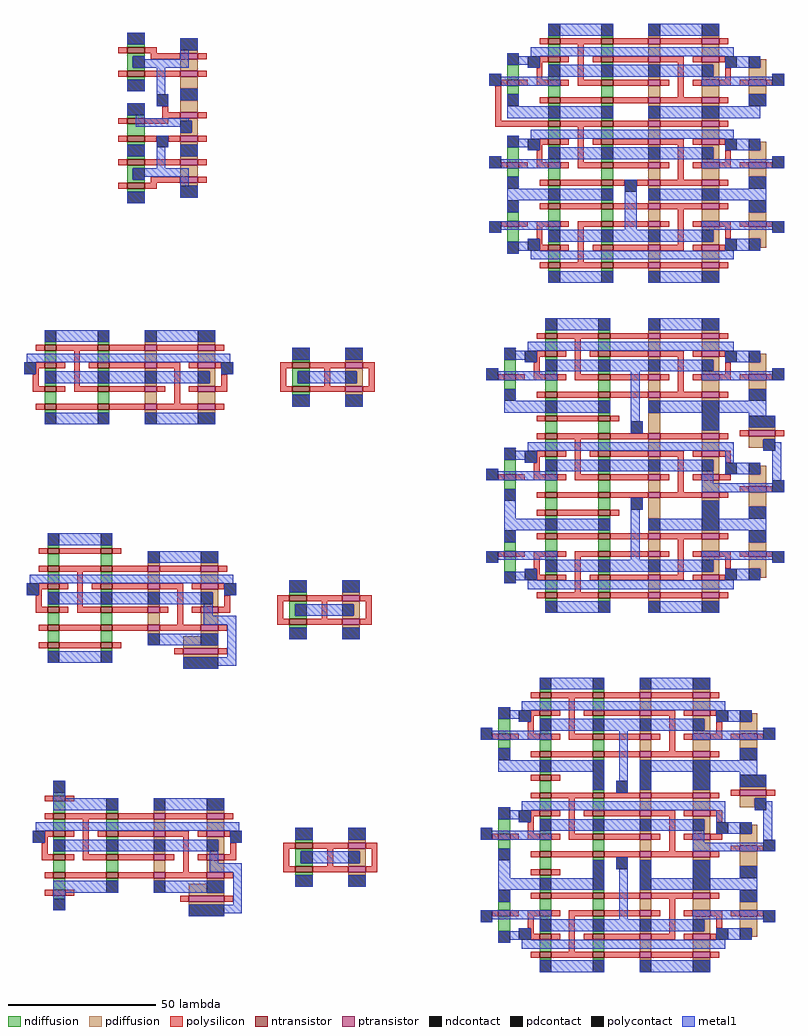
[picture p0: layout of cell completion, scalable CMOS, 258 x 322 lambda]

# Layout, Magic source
magic
tech scmos
use s_or4 s_or4_0
transform 1 0 184 0 1 64
box -3 -17 27 43
use m_c4 m_c4_0
transform 1 0 312 0 1 -39
box -6 59 96 149
use m_c2inv m_c2inv_0
transform 1 0 153 0 1 -26
box -5 -2 116 32
use m_c2inv_rlo m_c2inv_rlo_0
transform 1 0 149 0 1 -89
box 0 -22 119 26
use m_c4_rhi m_c4_rhi_0
transform 1 0 312 0 1 -151
box -7 59 96 161
use m_c2inv_plo m_c2inv_plo_0
transform 1 0 49 0 1 -186
box 102 -9 221 39
use m_c4_phi m_c4_phi_0
transform 1 0 313 0 1 -256
box -10 42 92 144
<< end >>

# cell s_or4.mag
magic
tech scmos
<< ndiffusion >>
rect 0 37 6 38
rect 0 34 6 35
rect 0 30 2 34
rect 0 29 6 30
rect 0 26 6 27
rect 0 13 6 14
rect 0 7 6 11
rect 0 4 6 5
rect 0 -1 6 0
rect 0 -4 6 -3
rect 0 -8 2 -4
rect 0 -9 6 -8
rect 0 -12 6 -11
<< pdiffusion >>
rect 18 35 24 36
rect 18 29 24 33
rect 18 23 24 27
rect 18 15 24 19
rect 18 12 24 13
rect 22 8 24 12
rect 18 7 24 8
rect 18 4 24 5
rect 18 -1 24 0
rect 18 -7 24 -3
rect 18 -10 24 -9
<< ntransistor >>
rect 0 35 6 37
rect 0 27 6 29
rect 0 11 6 13
rect 0 5 6 7
rect 0 -3 6 -1
rect 0 -11 6 -9
<< ptransistor >>
rect 18 33 24 35
rect 18 27 24 29
rect 18 13 24 15
rect 18 5 24 7
rect 18 -3 24 -1
rect 18 -9 24 -7
<< polysilicon >>
rect -3 35 0 37
rect 6 35 10 37
rect 8 33 18 35
rect 24 33 27 35
rect -3 27 0 29
rect 6 27 18 29
rect 24 27 27 29
rect 12 15 14 17
rect 12 13 18 15
rect 24 13 27 15
rect -3 11 0 13
rect 6 11 14 13
rect -3 5 0 7
rect 6 5 10 7
rect 14 5 18 7
rect 24 5 27 7
rect -3 -3 0 -1
rect 6 -3 18 -1
rect 24 -3 27 -1
rect 8 -9 18 -7
rect 24 -9 27 -7
rect -3 -11 0 -9
rect 6 -11 10 -9
<< ndcontact >>
rect 0 38 6 42
rect 2 30 6 34
rect 0 22 6 26
rect 0 14 6 18
rect 0 0 6 4
rect 2 -8 6 -4
rect 0 -16 6 -12
<< pdcontact >>
rect 18 36 24 40
rect 18 19 24 23
rect 18 8 22 12
rect 18 0 24 4
rect 18 -14 24 -10
<< polycontact >>
rect 10 17 14 21
rect 10 3 14 7
<< metal1 >>
rect 0 38 6 42
rect 18 36 24 40
rect 2 33 6 34
rect 18 33 21 36
rect 2 30 21 33
rect 0 22 6 26
rect 10 21 13 30
rect 0 14 6 18
rect 10 17 14 21
rect 18 19 24 23
rect 3 13 6 14
rect 3 12 21 13
rect 3 10 22 12
rect 18 8 22 10
rect 0 0 6 4
rect 10 3 14 7
rect 10 -4 13 3
rect 18 0 24 4
rect 2 -7 21 -4
rect 2 -8 6 -7
rect 18 -10 21 -7
rect 0 -16 6 -12
rect 18 -14 24 -10
<< labels >>
rlabel polysilicon 25 6 25 6 1 _a_01
rlabel polysilicon 25 14 25 14 1 _a_23
rlabel polysilicon -1 28 -1 28 1 a2
rlabel polysilicon -1 36 -1 36 1 a3
rlabel polysilicon -1 -2 -1 -2 1 a1
rlabel polysilicon -1 -10 -1 -10 1 a0
rlabel polysilicon 25 28 25 28 1 a2
rlabel polysilicon 25 34 25 34 1 a3
rlabel polysilicon 25 -2 25 -2 1 a1
rlabel polysilicon 25 -8 25 -8 1 a0
rlabel polysilicon -1 6 -1 6 1 _a_01
rlabel polysilicon -1 12 -1 12 1 _a_23
rlabel space -3 25 3 43 7 ^n1
rlabel space -3 3 1 19 7 ^n2
rlabel space 22 3 27 20 3 ^p2
rlabel space 23 22 27 41 3 ^p1
rlabel space 23 -15 27 1 3 ^p3
rlabel space -3 -17 3 1 7 ^n3
rlabel pdcontact 20 10 20 10 1 av
rlabel ndcontact 4 16 4 16 1 av
rlabel ndcontact 4 -6 4 -6 5 _a_01
rlabel pdcontact 20 -12 20 -12 5 _a_01
rlabel pdcontact 20 38 20 38 1 _a_23
rlabel ndcontact 4 32 4 32 1 _a_23
rlabel ndcontact 4 -14 4 -14 5 GND!
rlabel ndcontact 4 2 4 2 5 GND!
rlabel ndcontact 4 24 4 24 1 GND!
rlabel ndcontact 4 40 4 40 1 GND!
rlabel pdcontact 20 2 20 2 1 Vdd!
rlabel metal1 21 21 21 21 1 Vdd!
<< end >>

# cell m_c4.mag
magic
tech scmos
<< ndiffusion >>
rect 15 143 19 144
rect 33 143 37 144
rect 15 137 19 141
rect 1 129 5 134
rect 15 134 19 135
rect 15 129 19 130
rect 33 137 37 141
rect 33 134 37 135
rect 33 129 37 130
rect 1 124 5 127
rect 15 123 19 127
rect 33 123 37 127
rect 15 120 19 121
rect 15 115 19 116
rect 33 120 37 121
rect 33 115 37 116
rect 15 109 19 113
rect 1 101 5 106
rect 15 106 19 107
rect 15 101 19 102
rect 33 109 37 113
rect 33 106 37 107
rect 33 101 37 102
rect 1 96 5 99
rect 15 95 19 99
rect 33 95 37 99
rect 15 92 19 93
rect 15 87 19 88
rect 33 92 37 93
rect 33 87 37 88
rect 1 81 5 84
rect 15 81 19 85
rect 33 81 37 85
rect 1 74 5 79
rect 15 78 19 79
rect 15 73 19 74
rect 15 67 19 71
rect 33 78 37 79
rect 33 73 37 74
rect 33 67 37 71
rect 15 64 19 65
rect 33 64 37 65
<< pdiffusion >>
rect 49 143 53 144
rect 67 143 73 144
rect 49 137 53 141
rect 67 137 73 141
rect 49 134 53 135
rect 49 129 53 130
rect 49 123 53 127
rect 67 134 73 135
rect 71 130 73 134
rect 67 129 73 130
rect 87 133 89 136
rect 83 129 89 133
rect 67 123 73 127
rect 83 124 89 127
rect 49 120 53 121
rect 49 115 53 116
rect 67 120 73 121
rect 67 115 73 116
rect 49 109 53 113
rect 67 109 73 113
rect 49 106 53 107
rect 49 101 53 102
rect 49 95 53 99
rect 67 106 73 107
rect 71 102 73 106
rect 67 101 73 102
rect 87 105 89 108
rect 83 101 89 105
rect 67 95 73 99
rect 83 96 89 99
rect 49 92 53 93
rect 49 87 53 88
rect 67 92 73 93
rect 67 87 73 88
rect 49 81 53 85
rect 49 78 53 79
rect 49 73 53 74
rect 67 81 73 85
rect 83 81 89 84
rect 67 78 73 79
rect 71 74 73 78
rect 67 73 73 74
rect 83 75 89 79
rect 87 72 89 75
rect 49 67 53 71
rect 67 67 73 71
rect 49 64 53 65
rect 67 64 73 65
<< ntransistor >>
rect 15 141 19 143
rect 33 141 37 143
rect 15 135 19 137
rect 33 135 37 137
rect 1 127 5 129
rect 15 127 19 129
rect 33 127 37 129
rect 15 121 19 123
rect 33 121 37 123
rect 15 113 19 115
rect 33 113 37 115
rect 15 107 19 109
rect 33 107 37 109
rect 1 99 5 101
rect 15 99 19 101
rect 33 99 37 101
rect 15 93 19 95
rect 33 93 37 95
rect 15 85 19 87
rect 33 85 37 87
rect 1 79 5 81
rect 15 79 19 81
rect 33 79 37 81
rect 15 71 19 73
rect 33 71 37 73
rect 15 65 19 67
rect 33 65 37 67
<< ptransistor >>
rect 49 141 53 143
rect 67 141 73 143
rect 49 135 53 137
rect 67 135 73 137
rect 49 127 53 129
rect 67 127 73 129
rect 83 127 89 129
rect 49 121 53 123
rect 67 121 73 123
rect 49 113 53 115
rect 67 113 73 115
rect 49 107 53 109
rect 67 107 73 109
rect 49 99 53 101
rect 67 99 73 101
rect 83 99 89 101
rect 49 93 53 95
rect 67 93 73 95
rect 49 85 53 87
rect 67 85 73 87
rect 49 79 53 81
rect 67 79 73 81
rect 83 79 89 81
rect 49 71 53 73
rect 67 71 73 73
rect 49 65 53 67
rect 67 65 73 67
<< polysilicon >>
rect 12 141 15 143
rect 19 141 33 143
rect 37 141 49 143
rect 53 141 67 143
rect 73 141 76 143
rect 12 135 15 137
rect 19 135 22 137
rect 12 133 13 135
rect 11 129 13 133
rect 25 129 27 141
rect 30 135 33 137
rect 37 135 49 137
rect 53 135 61 137
rect 64 135 67 137
rect 73 135 75 137
rect -1 127 1 129
rect 5 127 8 129
rect 11 127 15 129
rect 19 127 22 129
rect 25 127 33 129
rect 37 127 49 129
rect 53 127 56 129
rect -3 115 -1 127
rect 59 123 61 135
rect 75 129 77 133
rect 64 127 67 129
rect 73 127 77 129
rect 80 127 83 129
rect 89 127 91 129
rect 12 121 15 123
rect 19 121 33 123
rect 37 121 49 123
rect 53 121 67 123
rect 73 121 76 123
rect -3 113 15 115
rect 19 113 33 115
rect 37 113 49 115
rect 53 113 67 115
rect 73 113 76 115
rect 12 107 15 109
rect 19 107 22 109
rect 12 105 13 107
rect 11 101 13 105
rect 25 101 27 113
rect 30 107 33 109
rect 37 107 49 109
rect 53 107 61 109
rect 64 107 67 109
rect 73 107 75 109
rect -1 99 1 101
rect 5 99 8 101
rect 11 99 15 101
rect 19 99 22 101
rect 25 99 33 101
rect 37 99 49 101
rect 53 99 56 101
rect 59 95 61 107
rect 75 101 77 105
rect 64 99 67 101
rect 73 99 77 101
rect 80 99 83 101
rect 89 99 91 101
rect 12 93 15 95
rect 19 93 33 95
rect 37 93 41 95
rect 45 93 49 95
rect 53 93 67 95
rect 73 93 76 95
rect 12 85 15 87
rect 19 85 33 87
rect 37 85 49 87
rect 53 85 67 87
rect 73 85 76 87
rect -1 79 1 81
rect 5 79 8 81
rect 11 79 15 81
rect 19 79 22 81
rect 25 79 33 81
rect 37 79 49 81
rect 53 79 56 81
rect 11 75 13 79
rect 12 73 13 75
rect 12 71 15 73
rect 19 71 22 73
rect 25 67 27 79
rect 59 73 61 85
rect 64 79 67 81
rect 73 79 77 81
rect 80 79 83 81
rect 89 79 91 81
rect 75 75 77 79
rect 30 71 33 73
rect 37 71 49 73
rect 53 71 61 73
rect 64 71 67 73
rect 73 71 75 73
rect 12 65 15 67
rect 19 65 33 67
rect 37 65 49 67
rect 53 65 67 67
rect 73 65 76 67
<< ndcontact >>
rect 15 144 19 148
rect 33 144 37 148
rect 1 134 5 138
rect 15 130 19 134
rect 33 130 37 134
rect 1 120 5 124
rect 15 116 19 120
rect 33 116 37 120
rect 1 106 5 110
rect 15 102 19 106
rect 33 102 37 106
rect 1 92 5 96
rect 15 88 19 92
rect 1 84 5 88
rect 33 88 37 92
rect 1 70 5 74
rect 15 74 19 78
rect 33 74 37 78
rect 15 60 19 64
rect 33 60 37 64
<< pdcontact >>
rect 49 144 53 148
rect 67 144 73 148
rect 49 130 53 134
rect 67 130 71 134
rect 83 133 87 137
rect 49 116 53 120
rect 83 120 89 124
rect 67 116 73 120
rect 49 102 53 106
rect 67 102 71 106
rect 83 105 87 109
rect 49 88 53 92
rect 83 92 89 96
rect 67 88 73 92
rect 49 74 53 78
rect 83 84 89 88
rect 67 74 71 78
rect 83 71 87 75
rect 49 60 53 64
rect 67 60 73 64
<< polycontact >>
rect -5 127 -1 131
rect 8 133 12 137
rect 75 133 79 137
rect 91 127 95 131
rect -5 99 -1 103
rect 8 105 12 109
rect 75 105 79 109
rect 91 99 95 103
rect 41 91 45 95
rect -5 77 -1 81
rect 8 71 12 75
rect 91 77 95 81
rect 75 71 79 75
<< metal1 >>
rect 15 144 37 148
rect 49 144 73 148
rect 1 137 5 138
rect 9 137 78 140
rect 1 134 12 137
rect 8 133 12 134
rect -5 130 -1 131
rect 15 130 71 134
rect 75 133 87 137
rect 91 130 95 131
rect -5 127 19 130
rect 67 127 95 130
rect 1 120 5 124
rect 83 120 89 124
rect 1 116 37 120
rect 49 116 87 120
rect 1 109 5 110
rect 9 109 78 112
rect 1 106 12 109
rect 8 105 12 106
rect -5 102 -1 103
rect 15 102 71 106
rect 75 105 87 109
rect 91 102 95 103
rect -5 99 19 102
rect 67 99 95 102
rect 1 92 5 96
rect 1 88 37 92
rect 1 84 5 88
rect -5 78 19 81
rect 41 78 45 95
rect 83 92 89 96
rect 49 88 89 92
rect 83 84 89 88
rect 67 78 95 81
rect -5 77 -1 78
rect 8 74 12 75
rect 15 74 71 78
rect 91 77 95 78
rect 1 71 12 74
rect 75 71 87 75
rect 1 70 5 71
rect 9 68 78 71
rect 15 60 37 64
rect 49 60 73 64
<< labels >>
rlabel polysilicon 14 94 14 94 1 _ab
rlabel polysilicon 14 114 14 114 1 _cd
rlabel polysilicon 14 66 14 66 5 b
rlabel polysilicon 14 86 14 86 5 a
rlabel polysilicon 14 142 14 142 1 d
rlabel polysilicon 14 122 14 122 1 c
rlabel polysilicon 74 94 74 94 1 _ab
rlabel polysilicon 74 114 74 114 1 _cd
rlabel polysilicon 74 66 74 66 5 b
rlabel polysilicon 74 86 74 86 5 a
rlabel polysilicon 74 142 74 142 1 d
rlabel polysilicon 74 122 74 122 1 c
rlabel space 30 120 33 144 3 ^ncd
rlabel space 24 121 28 143 3 ^ncd
rlabel space 24 93 28 115 3 ^nx
rlabel space 30 92 33 116 3 ^nx
rlabel space 30 60 33 88 3 ^nab
rlabel space 24 65 28 87 3 ^nab
rlabel space 53 64 56 88 7 ^pab
rlabel space 58 65 62 87 7 ^pab
rlabel space 53 92 56 116 7 ^px
rlabel space 58 93 62 115 7 ^px
rlabel space 53 120 56 144 7 ^pcd
rlabel space 58 121 62 143 7 ^pcd
rlabel space 52 59 96 149 3 ^p
rlabel space -6 59 34 149 7 ^n
rlabel ndcontact 35 104 35 104 1 x
rlabel pdcontact 51 104 51 104 1 x
rlabel ndcontact 35 62 35 62 1 GND!
rlabel pdcontact 51 62 51 62 1 Vdd!
rlabel ndcontact 35 90 35 90 1 GND!
rlabel pdcontact 51 90 51 90 1 Vdd!
rlabel pdcontact 51 76 51 76 5 _ab
rlabel ndcontact 35 76 35 76 5 _ab
rlabel pdcontact 51 132 51 132 1 _cd
rlabel ndcontact 35 132 35 132 1 _cd
rlabel pdcontact 51 146 51 146 1 Vdd!
rlabel ndcontact 35 146 35 146 1 GND!
rlabel ndcontact 35 118 35 118 1 GND!
rlabel pdcontact 51 118 51 118 1 Vdd!
rlabel ndcontact 17 62 17 62 1 GND!
rlabel ndcontact 17 146 17 146 1 GND!
rlabel ndcontact 17 118 17 118 1 GND!
rlabel ndcontact 17 90 17 90 1 GND!
rlabel pdcontact 69 104 69 104 1 x
rlabel pdcontact 70 62 70 62 1 Vdd!
rlabel pdcontact 69 76 69 76 5 _ab
rlabel pdcontact 69 132 69 132 1 _cd
rlabel pdcontact 70 146 70 146 1 Vdd!
rlabel pdcontact 70 118 70 118 1 Vdd!
rlabel pdcontact 70 90 70 90 1 Vdd!
rlabel ndcontact 17 132 17 132 1 _cd
rlabel ndcontact 17 104 17 104 1 x
rlabel ndcontact 17 76 17 76 5 _ab
rlabel pdcontact 86 94 86 94 1 Vdd!
rlabel pdcontact 86 86 86 86 5 Vdd!
rlabel pdcontact 86 122 86 122 1 Vdd!
rlabel polycontact 93 101 93 101 1 x
rlabel polycontact 93 79 93 79 5 _ab
rlabel polycontact 93 129 93 129 1 _cd
rlabel ndcontact 3 86 3 86 5 GND!
rlabel ndcontact 3 94 3 94 1 GND!
rlabel ndcontact 3 122 3 122 1 GND!
rlabel polycontact -3 79 -3 79 5 _ab
rlabel polycontact -3 129 -3 129 1 _cd
rlabel polycontact -3 101 -3 101 1 x
<< end >>

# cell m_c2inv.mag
magic
tech scmos
<< ndiffusion >>
rect 3 26 7 27
rect 21 26 25 27
rect 3 20 7 24
rect 3 17 7 18
rect 3 12 7 13
rect 21 20 25 24
rect 87 20 93 21
rect 21 17 25 18
rect 21 12 25 13
rect 3 6 7 10
rect 21 6 25 10
rect 87 17 93 18
rect 87 13 89 17
rect 87 12 93 13
rect 87 9 93 10
rect 3 3 7 4
rect 21 3 25 4
<< pdiffusion >>
rect 37 26 41 27
rect 55 26 61 27
rect 37 20 41 24
rect 55 20 61 24
rect 105 20 111 21
rect 37 17 41 18
rect 37 12 41 13
rect 37 6 41 10
rect 55 17 61 18
rect 59 13 61 17
rect 55 12 61 13
rect 105 17 111 18
rect 109 13 111 17
rect 105 12 111 13
rect 55 6 61 10
rect 105 9 111 10
rect 37 3 41 4
rect 55 3 61 4
<< ntransistor >>
rect 3 24 7 26
rect 21 24 25 26
rect 3 18 7 20
rect 21 18 25 20
rect 3 10 7 12
rect 21 10 25 12
rect 87 18 93 20
rect 87 10 93 12
rect 3 4 7 6
rect 21 4 25 6
<< ptransistor >>
rect 37 24 41 26
rect 55 24 61 26
rect 37 18 41 20
rect 55 18 61 20
rect 37 10 41 12
rect 105 18 111 20
rect 55 10 61 12
rect 105 10 111 12
rect 37 4 41 6
rect 55 4 61 6
<< polysilicon >>
rect 0 24 3 26
rect 7 24 21 26
rect 25 24 37 26
rect 41 24 55 26
rect 61 24 64 26
rect 0 18 3 20
rect 7 18 10 20
rect 0 16 1 18
rect -1 12 1 16
rect 13 12 15 24
rect 18 18 21 20
rect 25 18 37 20
rect 41 18 49 20
rect 52 18 55 20
rect 61 18 63 20
rect -1 10 3 12
rect 7 10 10 12
rect 13 10 21 12
rect 25 10 37 12
rect 41 10 44 12
rect 47 6 49 18
rect 83 18 87 20
rect 93 18 105 20
rect 111 18 115 20
rect 63 12 65 16
rect 52 10 55 12
rect 61 10 65 12
rect 83 12 85 18
rect 98 12 100 18
rect 113 12 115 18
rect 83 10 87 12
rect 93 10 105 12
rect 111 10 115 12
rect 0 4 3 6
rect 7 4 21 6
rect 25 4 37 6
rect 41 4 55 6
rect 61 4 64 6
<< ndcontact >>
rect 3 27 7 31
rect 21 27 25 31
rect 3 13 7 17
rect 87 21 93 25
rect 21 13 25 17
rect 89 13 93 17
rect 87 5 93 9
rect 3 -1 7 3
rect 21 -1 25 3
<< pdcontact >>
rect 37 27 41 31
rect 55 27 61 31
rect 105 21 111 25
rect 37 13 41 17
rect 55 13 59 17
rect 105 13 109 17
rect 105 5 111 9
rect 37 -1 41 3
rect 55 -1 61 3
<< polycontact >>
rect -4 16 0 20
rect 63 16 67 20
<< metal1 >>
rect 3 27 25 31
rect 37 27 61 31
rect -3 20 66 23
rect 87 21 93 25
rect 105 21 111 25
rect -4 16 0 20
rect 3 13 59 17
rect 63 16 67 20
rect 89 13 109 17
rect 87 5 93 9
rect 105 5 111 9
rect 3 -1 25 3
rect 37 -1 61 3
<< labels >>
rlabel polysilicon 2 25 2 25 3 b
rlabel polysilicon 2 5 2 5 1 a
rlabel polysilicon 62 5 62 5 1 a
rlabel polysilicon 62 25 62 25 1 b
rlabel space -5 -2 22 32 7 ^n1
rlabel space 40 -2 68 32 3 ^p1
rlabel polysilicon 84 15 84 15 1 _x
rlabel polysilicon 114 15 114 15 7 _x
rlabel space 82 4 90 26 7 ^n2
rlabel space 108 4 116 26 3 ^p2
rlabel ndcontact 23 1 23 1 1 GND!
rlabel pdcontact 39 1 39 1 1 Vdd!
rlabel ndcontact 23 29 23 29 5 GND!
rlabel pdcontact 39 29 39 29 5 Vdd!
rlabel ndcontact 5 1 5 1 1 GND!
rlabel ndcontact 5 29 5 29 5 GND!
rlabel pdcontact 58 1 58 1 1 Vdd!
rlabel pdcontact 58 29 58 29 5 Vdd!
rlabel pdcontact 39 15 39 15 1 _x
rlabel ndcontact 23 15 23 15 1 _x
rlabel polycontact -2 18 -2 18 1 x
rlabel polycontact 65 18 65 18 1 x
rlabel ndcontact 5 15 5 15 1 _x
rlabel pdcontact 57 15 57 15 1 _x
rlabel ndcontact 91 7 91 7 1 GND!
rlabel ndcontact 91 23 91 23 5 GND!
rlabel pdcontact 107 23 107 23 5 Vdd!
rlabel pdcontact 107 7 107 7 1 Vdd!
rlabel ndcontact 91 15 91 15 1 x
rlabel pdcontact 107 15 107 15 1 x
<< end >>

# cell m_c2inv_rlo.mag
magic
tech scmos
<< ndiffusion >>
rect 8 20 12 21
rect 26 20 30 21
rect 8 14 12 18
rect 26 14 30 18
rect 8 8 12 12
rect 8 5 12 6
rect 8 0 12 1
rect 26 8 30 12
rect 26 5 30 6
rect 26 0 30 1
rect 8 -6 12 -2
rect 26 -6 30 -2
rect 90 4 96 5
rect 90 1 96 2
rect 90 -3 92 1
rect 90 -4 96 -3
rect 90 -7 96 -6
rect 8 -12 12 -8
rect 26 -12 30 -8
rect 8 -15 12 -14
rect 26 -15 30 -14
<< pdiffusion >>
rect 42 14 46 15
rect 60 14 66 15
rect 42 8 46 12
rect 60 8 66 12
rect 42 5 46 6
rect 42 0 46 1
rect 42 -6 46 -2
rect 60 5 66 6
rect 64 1 66 5
rect 60 0 66 1
rect 108 4 114 5
rect 60 -6 66 -2
rect 108 1 114 2
rect 112 -3 114 1
rect 108 -4 114 -3
rect 42 -9 46 -8
rect 60 -9 66 -8
rect 54 -13 60 -10
rect 108 -7 114 -6
rect 54 -14 66 -13
rect 54 -17 66 -16
<< ntransistor >>
rect 8 18 12 20
rect 26 18 30 20
rect 8 12 12 14
rect 26 12 30 14
rect 8 6 12 8
rect 26 6 30 8
rect 8 -2 12 0
rect 26 -2 30 0
rect 90 2 96 4
rect 90 -6 96 -4
rect 8 -8 12 -6
rect 26 -8 30 -6
rect 8 -14 12 -12
rect 26 -14 30 -12
<< ptransistor >>
rect 42 12 46 14
rect 60 12 66 14
rect 42 6 46 8
rect 60 6 66 8
rect 42 -2 46 0
rect 60 -2 66 0
rect 108 2 114 4
rect 108 -6 114 -4
rect 42 -8 46 -6
rect 60 -8 66 -6
rect 54 -16 66 -14
<< polysilicon >>
rect 5 18 8 20
rect 12 18 26 20
rect 30 18 33 20
rect 5 12 8 14
rect 12 12 26 14
rect 30 12 42 14
rect 46 12 60 14
rect 66 12 69 14
rect 5 6 8 8
rect 12 6 15 8
rect 5 4 6 6
rect 4 0 6 4
rect 18 0 20 12
rect 23 6 26 8
rect 30 6 42 8
rect 46 6 54 8
rect 57 6 60 8
rect 66 6 68 8
rect 4 -2 8 0
rect 12 -2 15 0
rect 18 -2 26 0
rect 30 -2 42 0
rect 46 -2 49 0
rect 52 -6 54 6
rect 68 0 70 4
rect 57 -2 60 0
rect 66 -2 70 0
rect 86 2 90 4
rect 96 2 108 4
rect 114 2 118 4
rect 86 -4 88 2
rect 101 -4 103 2
rect 116 -4 118 2
rect 86 -6 90 -4
rect 96 -6 108 -4
rect 114 -6 118 -4
rect 5 -8 8 -6
rect 12 -8 26 -6
rect 30 -8 42 -6
rect 46 -8 60 -6
rect 66 -8 69 -6
rect 5 -14 8 -12
rect 12 -14 26 -12
rect 30 -14 33 -12
rect 51 -16 54 -14
rect 66 -16 69 -14
<< ndcontact >>
rect 8 21 12 25
rect 26 21 30 25
rect 8 1 12 5
rect 26 1 30 5
rect 90 5 96 9
rect 92 -3 96 1
rect 90 -11 96 -7
rect 8 -19 12 -15
rect 26 -19 30 -15
<< pdcontact >>
rect 42 15 46 19
rect 60 15 66 19
rect 42 1 46 5
rect 60 1 64 5
rect 108 5 114 9
rect 108 -3 112 1
rect 42 -13 46 -9
rect 60 -13 66 -9
rect 108 -11 114 -7
rect 54 -21 66 -17
<< polycontact >>
rect 1 4 5 8
rect 68 4 72 8
<< metal1 >>
rect 8 21 30 25
rect 42 15 66 19
rect 2 8 71 11
rect 1 4 5 8
rect 8 1 64 5
rect 68 4 72 8
rect 90 5 96 9
rect 108 5 114 9
rect 61 -3 64 1
rect 92 -3 112 1
rect 61 -6 72 -3
rect 42 -13 66 -9
rect 8 -19 30 -15
rect 69 -17 72 -6
rect 90 -11 96 -7
rect 108 -11 114 -7
rect 54 -20 72 -17
rect 54 -21 66 -20
<< labels >>
rlabel polysilicon 7 13 7 13 3 b
rlabel polysilicon 7 -7 7 -7 1 a
rlabel polysilicon 7 19 7 19 1 _SReset!
rlabel polysilicon 7 -13 7 -13 1 _SReset!
rlabel space 0 -20 27 26 7 ^n1
rlabel polysilicon 87 -1 87 -1 1 _x
rlabel polysilicon 117 -1 117 -1 7 _x
rlabel space 85 -12 93 10 7 ^n2
rlabel space 111 -12 119 10 3 ^p2
rlabel space 45 -22 73 20 3 ^p1
rlabel polysilicon 67 13 67 13 1 b
rlabel polysilicon 67 -7 67 -7 1 a
rlabel polysilicon 67 -15 67 -15 5 _PReset!
rlabel ndcontact 28 -17 28 -17 1 GND!
rlabel ndcontact 28 23 28 23 5 GND!
rlabel ndcontact 10 23 10 23 5 GND!
rlabel ndcontact 10 -17 10 -17 1 GND!
rlabel polycontact 3 6 3 6 1 x
rlabel ndcontact 10 3 10 3 1 _x
rlabel ndcontact 94 -9 94 -9 1 GND!
rlabel ndcontact 94 7 94 7 5 GND!
rlabel pdcontact 110 7 110 7 5 Vdd!
rlabel pdcontact 110 -9 110 -9 1 Vdd!
rlabel ndcontact 94 -1 94 -1 1 x
rlabel pdcontact 110 -1 110 -1 1 x
rlabel polycontact 70 6 70 6 1 x
rlabel pdcontact 60 -19 60 -19 1 _x
rlabel pdcontact 63 -11 63 -11 1 Vdd!
rlabel pdcontact 63 17 63 17 1 Vdd!
rlabel pdcontact 44 17 44 17 1 Vdd!
rlabel pdcontact 62 3 62 3 1 _x
rlabel pdcontact 44 -11 44 -11 1 Vdd!
rlabel pdcontact 44 3 44 3 1 _x
rlabel ndcontact 28 3 28 3 1 _x
<< end >>

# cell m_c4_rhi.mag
magic
tech scmos
<< ndiffusion >>
rect 14 155 18 156
rect 32 155 36 156
rect 14 149 18 153
rect 0 141 4 146
rect 14 146 18 147
rect 14 141 18 142
rect 32 149 36 153
rect 32 146 36 147
rect 32 141 36 142
rect 0 136 4 139
rect 14 135 18 139
rect 32 135 36 139
rect 14 132 18 133
rect 14 127 18 128
rect 32 132 36 133
rect 32 127 36 128
rect 14 121 18 125
rect 32 121 36 125
rect 14 115 18 119
rect 0 107 4 112
rect 14 112 18 113
rect 14 107 18 108
rect 32 115 36 119
rect 32 112 36 113
rect 32 107 36 108
rect 0 102 4 105
rect 14 101 18 105
rect 32 101 36 105
rect 14 95 18 99
rect 32 95 36 99
rect 14 92 18 93
rect 14 87 18 88
rect 32 92 36 93
rect 32 87 36 88
rect 0 81 4 84
rect 14 81 18 85
rect 32 81 36 85
rect 0 74 4 79
rect 14 78 18 79
rect 14 73 18 74
rect 14 67 18 71
rect 32 78 36 79
rect 32 73 36 74
rect 32 67 36 71
rect 14 64 18 65
rect 32 64 36 65
<< pdiffusion >>
rect 49 155 53 156
rect 67 155 73 156
rect 49 149 53 153
rect 67 149 73 153
rect 49 146 53 147
rect 49 141 53 142
rect 49 135 53 139
rect 67 146 73 147
rect 71 142 73 146
rect 67 141 73 142
rect 87 145 89 148
rect 83 141 89 145
rect 67 135 73 139
rect 83 136 89 139
rect 49 132 53 133
rect 49 121 53 128
rect 67 132 73 133
rect 83 122 92 123
rect 67 121 73 122
rect 83 119 92 120
rect 49 115 53 119
rect 67 115 73 119
rect 83 116 88 119
rect 49 112 53 113
rect 49 107 53 108
rect 49 101 53 105
rect 67 112 73 113
rect 71 108 73 112
rect 67 107 73 108
rect 87 107 89 110
rect 67 101 73 105
rect 83 103 89 107
rect 49 92 53 99
rect 49 87 53 88
rect 67 98 73 99
rect 83 96 89 101
rect 67 87 73 88
rect 49 81 53 85
rect 49 78 53 79
rect 49 73 53 74
rect 67 81 73 85
rect 83 81 89 84
rect 67 78 73 79
rect 71 74 73 78
rect 67 73 73 74
rect 83 75 89 79
rect 87 72 89 75
rect 49 67 53 71
rect 67 67 73 71
rect 49 64 53 65
rect 67 64 73 65
<< ntransistor >>
rect 14 153 18 155
rect 32 153 36 155
rect 14 147 18 149
rect 32 147 36 149
rect 0 139 4 141
rect 14 139 18 141
rect 32 139 36 141
rect 14 133 18 135
rect 32 133 36 135
rect 14 125 18 127
rect 32 125 36 127
rect 14 119 18 121
rect 32 119 36 121
rect 14 113 18 115
rect 32 113 36 115
rect 0 105 4 107
rect 14 105 18 107
rect 32 105 36 107
rect 14 99 18 101
rect 32 99 36 101
rect 14 93 18 95
rect 32 93 36 95
rect 14 85 18 87
rect 32 85 36 87
rect 0 79 4 81
rect 14 79 18 81
rect 32 79 36 81
rect 14 71 18 73
rect 32 71 36 73
rect 14 65 18 67
rect 32 65 36 67
<< ptransistor >>
rect 49 153 53 155
rect 67 153 73 155
rect 49 147 53 149
rect 67 147 73 149
rect 49 139 53 141
rect 67 139 73 141
rect 83 139 89 141
rect 49 133 53 135
rect 67 133 73 135
rect 49 119 53 121
rect 67 119 73 121
rect 83 120 92 122
rect 49 113 53 115
rect 67 113 73 115
rect 49 105 53 107
rect 67 105 73 107
rect 83 101 89 103
rect 49 99 53 101
rect 67 99 73 101
rect 49 85 53 87
rect 67 85 73 87
rect 49 79 53 81
rect 67 79 73 81
rect 83 79 89 81
rect 49 71 53 73
rect 67 71 73 73
rect 49 65 53 67
rect 67 65 73 67
<< polysilicon >>
rect 11 153 14 155
rect 18 153 32 155
rect 36 153 49 155
rect 53 153 67 155
rect 73 153 76 155
rect 11 147 14 149
rect 18 147 21 149
rect 11 145 12 147
rect 10 141 12 145
rect 24 141 26 153
rect 29 147 32 149
rect 36 147 49 149
rect 53 147 61 149
rect 64 147 67 149
rect 73 147 75 149
rect -2 139 0 141
rect 4 139 7 141
rect 10 139 14 141
rect 18 139 21 141
rect 24 139 32 141
rect 36 139 49 141
rect 53 139 56 141
rect 59 135 61 147
rect 75 141 77 145
rect 64 139 67 141
rect 73 139 77 141
rect 80 139 83 141
rect 89 139 91 141
rect 11 133 14 135
rect 18 133 32 135
rect 36 133 49 135
rect 53 133 67 135
rect 73 133 76 135
rect 11 125 14 127
rect 18 125 32 127
rect 36 125 39 127
rect 11 119 14 121
rect 18 119 32 121
rect 36 119 49 121
rect 53 119 67 121
rect 73 119 76 121
rect 80 120 83 122
rect 92 120 95 122
rect 11 113 14 115
rect 18 113 21 115
rect 11 111 12 113
rect 10 107 12 111
rect 24 107 26 119
rect 29 113 32 115
rect 36 113 49 115
rect 53 113 61 115
rect 64 113 67 115
rect 73 113 77 115
rect -2 105 0 107
rect 4 105 7 107
rect 10 105 14 107
rect 18 105 21 107
rect 24 105 32 107
rect 36 105 49 107
rect 53 105 56 107
rect 59 101 61 113
rect 75 111 77 113
rect 64 105 67 107
rect 73 105 77 107
rect 80 101 83 103
rect 89 101 91 103
rect 11 99 14 101
rect 18 99 32 101
rect 36 99 49 101
rect 53 99 67 101
rect 73 99 76 101
rect 11 93 14 95
rect 18 93 32 95
rect 36 93 39 95
rect 11 85 14 87
rect 18 85 32 87
rect 36 85 49 87
rect 53 85 67 87
rect 73 85 76 87
rect -2 79 0 81
rect 4 79 7 81
rect 10 79 14 81
rect 18 79 21 81
rect 24 79 32 81
rect 36 79 49 81
rect 53 79 56 81
rect 10 75 12 79
rect 11 73 12 75
rect 11 71 14 73
rect 18 71 21 73
rect 24 67 26 79
rect 59 73 61 85
rect 64 79 67 81
rect 73 79 77 81
rect 80 79 83 81
rect 89 79 91 81
rect 75 75 77 79
rect 29 71 32 73
rect 36 71 49 73
rect 53 71 61 73
rect 64 71 67 73
rect 73 71 75 73
rect 11 65 14 67
rect 18 65 32 67
rect 36 65 49 67
rect 53 65 67 67
rect 73 65 76 67
<< ndcontact >>
rect 14 156 18 160
rect 32 156 36 160
rect 0 146 4 150
rect 14 142 18 146
rect 32 142 36 146
rect 0 132 4 136
rect 14 128 18 132
rect 32 128 36 132
rect 0 112 4 116
rect 14 108 18 112
rect 32 108 36 112
rect 0 98 4 102
rect 14 88 18 92
rect 0 84 4 88
rect 32 88 36 92
rect 0 70 4 74
rect 14 74 18 78
rect 32 74 36 78
rect 14 60 18 64
rect 32 60 36 64
<< pdcontact >>
rect 49 156 53 160
rect 67 156 73 160
rect 49 142 53 146
rect 67 142 71 146
rect 83 145 87 149
rect 49 128 53 132
rect 83 132 89 136
rect 67 122 73 132
rect 83 123 92 127
rect 88 115 92 119
rect 49 108 53 112
rect 67 108 71 112
rect 83 107 87 111
rect 49 88 53 92
rect 67 88 73 98
rect 83 92 89 96
rect 49 74 53 78
rect 83 84 89 88
rect 67 74 71 78
rect 83 71 87 75
rect 49 60 53 64
rect 67 60 73 64
<< polycontact >>
rect -6 139 -2 143
rect 7 145 11 149
rect 75 145 79 149
rect 91 139 95 143
rect 43 121 47 125
rect -6 105 -2 109
rect 7 111 11 115
rect 75 107 79 111
rect 91 101 95 105
rect 43 95 47 99
rect -6 77 -2 81
rect 7 71 11 75
rect 91 77 95 81
rect 75 71 79 75
<< metal1 >>
rect 14 156 36 160
rect 49 156 73 160
rect 0 149 4 150
rect 8 149 78 152
rect 0 146 11 149
rect 7 145 11 146
rect -6 142 -2 143
rect 14 142 71 146
rect 75 145 87 149
rect 91 142 95 143
rect -6 139 18 142
rect 0 132 4 136
rect 0 128 36 132
rect 43 125 46 142
rect 67 139 95 142
rect 83 132 89 136
rect 49 128 89 132
rect 43 121 47 125
rect 67 122 73 128
rect 83 127 89 128
rect 83 123 92 127
rect 88 118 92 119
rect 0 115 4 116
rect 8 115 78 118
rect 88 115 94 118
rect 0 112 11 115
rect 7 111 11 112
rect -6 108 -2 109
rect 14 108 71 112
rect -6 105 18 108
rect 67 104 71 108
rect 75 111 78 115
rect 75 107 87 111
rect 91 105 94 115
rect 91 104 95 105
rect 0 92 4 102
rect 67 101 95 104
rect 43 95 47 99
rect 0 88 36 92
rect 0 84 4 88
rect -6 78 18 81
rect 43 78 46 95
rect 67 92 73 98
rect 83 92 89 96
rect 49 88 89 92
rect 83 84 89 88
rect 67 78 95 81
rect -6 77 -2 78
rect 7 74 11 75
rect 14 74 71 78
rect 91 77 95 78
rect 0 71 11 74
rect 75 71 87 75
rect 0 70 4 71
rect 8 68 78 71
rect 14 60 36 64
rect 49 60 73 64
<< labels >>
rlabel polysilicon 74 100 74 100 1 _ab
rlabel polysilicon 74 120 74 120 1 _cd
rlabel polysilicon 74 86 74 86 5 a
rlabel polysilicon 74 66 74 66 5 b
rlabel polysilicon 74 134 74 134 1 c
rlabel polysilicon 74 154 74 154 1 d
rlabel space 53 64 56 88 7 ^pab
rlabel space 58 65 62 87 7 ^pab
rlabel space 58 99 62 121 7 ^px
rlabel space 53 92 56 128 7 ^px
rlabel space 58 133 62 155 7 ^pcd
rlabel space 53 132 56 156 7 ^pcd
rlabel polysilicon 93 121 93 121 1 _PReset!
rlabel space 52 59 96 161 3 ^p
rlabel polysilicon 13 126 13 126 1 _SReset!
rlabel polysilicon 13 94 13 94 1 _SReset!
rlabel polysilicon 13 100 13 100 1 _ab
rlabel polysilicon 13 120 13 120 1 _cd
rlabel polysilicon 13 86 13 86 5 a
rlabel polysilicon 13 66 13 66 5 b
rlabel polysilicon 13 134 13 134 1 c
rlabel polysilicon 13 154 13 154 1 d
rlabel space 23 133 27 155 3 ^ncd
rlabel space 29 132 32 156 3 ^ncd
rlabel space 23 93 27 127 3 ^nx
rlabel space 29 92 32 128 3 ^nx
rlabel space 23 65 27 87 3 ^nab
rlabel space 29 64 32 88 3 ^nab
rlabel space -7 59 33 161 7 ^n
rlabel pdcontact 51 110 51 110 1 x
rlabel pdcontact 51 62 51 62 5 Vdd!
rlabel pdcontact 51 76 51 76 5 _ab
rlabel pdcontact 51 158 51 158 1 Vdd!
rlabel pdcontact 51 144 51 144 1 _cd
rlabel pdcontact 51 90 51 90 1 Vdd!
rlabel pdcontact 51 130 51 130 1 Vdd!
rlabel pdcontact 69 110 69 110 1 x
rlabel pdcontact 70 62 70 62 5 Vdd!
rlabel pdcontact 69 76 69 76 5 _ab
rlabel pdcontact 70 158 70 158 1 Vdd!
rlabel pdcontact 69 144 69 144 1 _cd
rlabel pdcontact 70 130 70 130 1 Vdd!
rlabel pdcontact 70 90 70 90 1 Vdd!
rlabel pdcontact 86 86 86 86 1 Vdd!
rlabel pdcontact 86 94 86 94 1 Vdd!
rlabel pdcontact 86 134 86 134 1 Vdd!
rlabel pdcontact 89 125 89 125 1 Vdd!
rlabel pdcontact 90 117 90 117 1 x
rlabel polycontact 93 103 93 103 1 x
rlabel polycontact 93 79 93 79 5 _ab
rlabel polycontact 93 141 93 141 1 _cd
rlabel ndcontact 34 110 34 110 1 x
rlabel ndcontact 34 62 34 62 5 GND!
rlabel ndcontact 34 76 34 76 5 _ab
rlabel ndcontact 34 90 34 90 1 GND!
rlabel ndcontact 34 158 34 158 1 GND!
rlabel ndcontact 34 144 34 144 1 _cd
rlabel ndcontact 34 130 34 130 1 GND!
rlabel ndcontact 16 62 16 62 5 GND!
rlabel ndcontact 16 158 16 158 1 GND!
rlabel ndcontact 16 130 16 130 1 GND!
rlabel ndcontact 16 90 16 90 1 GND!
rlabel ndcontact 2 86 2 86 5 GND!
rlabel ndcontact 2 134 2 134 1 GND!
rlabel ndcontact 2 100 2 100 1 GND!
rlabel polycontact -4 107 -4 107 1 x
rlabel polycontact -4 79 -4 79 5 _ab
rlabel polycontact -4 141 -4 141 1 _cd
rlabel ndcontact 16 110 16 110 1 x
rlabel ndcontact 16 144 16 144 1 _cd
rlabel ndcontact 16 76 16 76 5 _ab
<< end >>

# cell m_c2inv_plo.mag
magic
tech scmos
<< ndiffusion >>
rect 110 33 114 34
rect 110 27 114 31
rect 128 27 132 28
rect 110 21 114 25
rect 110 18 114 19
rect 110 13 114 14
rect 128 21 132 25
rect 128 18 132 19
rect 128 13 132 14
rect 110 7 114 11
rect 128 7 132 11
rect 192 17 198 18
rect 192 14 198 15
rect 192 10 194 14
rect 192 9 198 10
rect 192 6 198 7
rect 110 1 114 5
rect 128 4 132 5
rect 110 -2 114 -1
<< pdiffusion >>
rect 144 27 148 28
rect 162 27 168 28
rect 144 21 148 25
rect 162 21 168 25
rect 144 18 148 19
rect 144 13 148 14
rect 144 7 148 11
rect 162 18 168 19
rect 166 14 168 18
rect 162 13 168 14
rect 210 17 216 18
rect 162 7 168 11
rect 210 14 216 15
rect 214 10 216 14
rect 210 9 216 10
rect 144 4 148 5
rect 162 4 168 5
rect 156 0 162 3
rect 210 6 216 7
rect 156 -1 168 0
rect 156 -4 168 -3
<< ntransistor >>
rect 110 31 114 33
rect 110 25 114 27
rect 128 25 132 27
rect 110 19 114 21
rect 128 19 132 21
rect 110 11 114 13
rect 128 11 132 13
rect 192 15 198 17
rect 192 7 198 9
rect 110 5 114 7
rect 128 5 132 7
rect 110 -1 114 1
<< ptransistor >>
rect 144 25 148 27
rect 162 25 168 27
rect 144 19 148 21
rect 162 19 168 21
rect 144 11 148 13
rect 162 11 168 13
rect 210 15 216 17
rect 210 7 216 9
rect 144 5 148 7
rect 162 5 168 7
rect 156 -3 168 -1
<< polysilicon >>
rect 107 31 110 33
rect 114 31 117 33
rect 107 25 110 27
rect 114 25 128 27
rect 132 25 144 27
rect 148 25 162 27
rect 168 25 171 27
rect 107 19 110 21
rect 114 19 117 21
rect 107 17 108 19
rect 106 13 108 17
rect 120 13 122 25
rect 125 19 128 21
rect 132 19 144 21
rect 148 19 156 21
rect 159 19 162 21
rect 168 19 170 21
rect 106 11 110 13
rect 114 11 117 13
rect 120 11 128 13
rect 132 11 144 13
rect 148 11 151 13
rect 154 7 156 19
rect 170 13 172 17
rect 159 11 162 13
rect 168 11 172 13
rect 188 15 192 17
rect 198 15 210 17
rect 216 15 220 17
rect 188 9 190 15
rect 203 9 205 15
rect 218 9 220 15
rect 188 7 192 9
rect 198 7 210 9
rect 216 7 220 9
rect 107 5 110 7
rect 114 5 128 7
rect 132 5 144 7
rect 148 5 162 7
rect 168 5 171 7
rect 107 -1 110 1
rect 114 -1 117 1
rect 153 -3 156 -1
rect 168 -3 171 -1
<< ndcontact >>
rect 110 34 114 38
rect 128 28 132 32
rect 110 14 114 18
rect 128 14 132 18
rect 192 18 198 22
rect 194 10 198 14
rect 128 0 132 4
rect 192 2 198 6
rect 110 -6 114 -2
<< pdcontact >>
rect 144 28 148 32
rect 162 28 168 32
rect 144 14 148 18
rect 162 14 166 18
rect 210 18 216 22
rect 210 10 214 14
rect 144 0 148 4
rect 162 0 168 4
rect 210 2 216 6
rect 156 -8 168 -4
<< polycontact >>
rect 103 17 107 21
rect 170 17 174 21
<< metal1 >>
rect 110 32 114 38
rect 110 28 132 32
rect 144 28 168 32
rect 104 21 173 24
rect 103 17 107 21
rect 110 14 166 18
rect 170 17 174 21
rect 192 18 198 22
rect 210 18 216 22
rect 163 10 166 14
rect 194 10 214 14
rect 163 7 174 10
rect 110 0 132 4
rect 144 0 168 4
rect 110 -6 114 0
rect 171 -4 174 7
rect 192 2 198 6
rect 210 2 216 6
rect 156 -7 174 -4
rect 156 -8 168 -7
<< labels >>
rlabel polysilicon 169 26 169 26 1 b
rlabel polysilicon 169 6 169 6 1 a
rlabel polysilicon 109 26 109 26 3 b
rlabel polysilicon 109 6 109 6 1 a
rlabel polysilicon 109 32 109 32 1 _SReset!
rlabel polysilicon 109 0 109 0 1 _SReset!
rlabel polysilicon 169 -2 169 -2 5 _PReset!
rlabel space 102 -7 129 39 7 ^n1
rlabel space 147 -9 175 33 3 ^p1
rlabel polysilicon 189 12 189 12 1 _x
rlabel polysilicon 219 12 219 12 7 _x
rlabel space 187 1 195 23 7 ^n2
rlabel space 213 1 221 23 3 ^p2
rlabel pdcontact 165 2 165 2 1 Vdd!
rlabel pdcontact 165 30 165 30 1 Vdd!
rlabel pdcontact 146 2 146 2 1 Vdd!
rlabel pdcontact 146 30 146 30 1 Vdd!
rlabel ndcontact 112 36 112 36 5 GND!
rlabel ndcontact 112 -4 112 -4 1 GND!
rlabel polycontact 105 19 105 19 1 x
rlabel ndcontact 112 16 112 16 1 _x
rlabel ndcontact 130 16 130 16 1 _x
rlabel pdcontact 146 16 146 16 1 _x
rlabel pdcontact 164 16 164 16 1 _x
rlabel pdcontact 162 -6 162 -6 1 _x
rlabel polycontact 172 19 172 19 1 x
rlabel ndcontact 196 4 196 4 1 GND!
rlabel ndcontact 196 20 196 20 5 GND!
rlabel pdcontact 212 20 212 20 5 Vdd!
rlabel pdcontact 212 4 212 4 1 Vdd!
rlabel ndcontact 196 12 196 12 1 x
rlabel pdcontact 212 12 212 12 1 x
rlabel ndcontact 130 2 130 2 1 GND!
rlabel ndcontact 130 30 130 30 5 GND!
<< end >>

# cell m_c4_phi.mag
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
